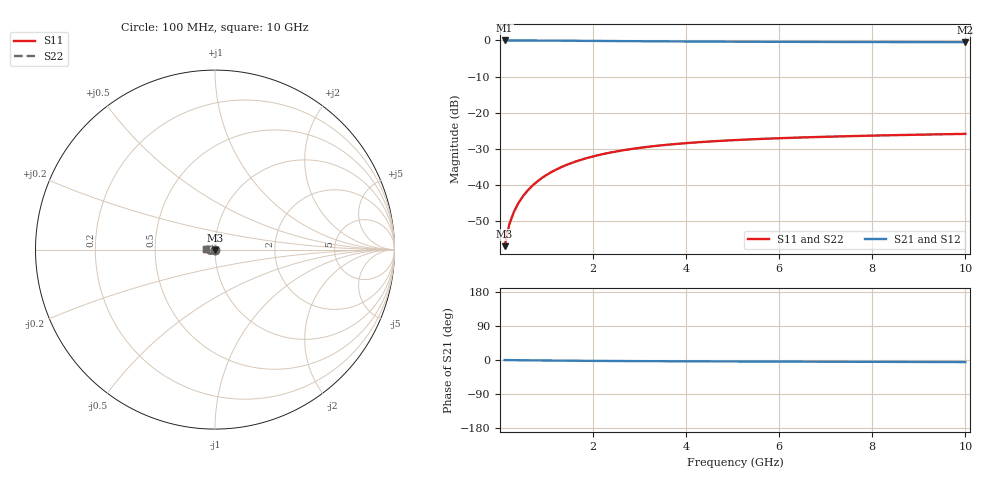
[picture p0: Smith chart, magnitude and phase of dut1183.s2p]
! Touchstone file exported from HFSS 2024.1.0
!  File:  C:/UserFiles/LocalFiles/RDL_TSV_Batchsim/temp_TSV1_1183_1780075008.aedt
!  Generated:  01:21:09 AM May 30, 2026
!  Design:  TSV1
!  Project:  temp_TSV1_1183_1780075008
!  Setup:  Setup1
!  Solution:  Sweep
! Variables:
!  dtsv = 11.14um
!  hbump = 3um
!  htsv = 85.76um
!  lrdl = 252.1521522um
!  p = 40
!  p1 = 53.47um
!  t = 500um
!  trdl = 3um
!  wrdl = 24.89489489um
# GHz S MA R 50.000000
! Terminal data exported
! Port[1] = TSV22_T1
! Port[2] = TSV22_T2
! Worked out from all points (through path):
!   100 points, 100 MHz to 10 GHz, reference 50 ohm
!   highest |S21| = 0.00 dB at 100 MHz (marker M1); lowest = -0.5 dB at 10 GHz (marker M2)
!   lowest |S11| = -56.9 dB at 100 MHz (marker M3), VSWR 1.00, Z = 50 - j0.143 ohm
!   |S11| at or under -10 dB: start of sweep to end of sweep
!   |S22| runs from -56.9 to -25.8 dB; largest |S21 - S12| = 5e-15
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0.1  0.00143 -87.0  0.9998 -0.1  0.9998 -0.1  0.00143 -87.0
! Gamma 0 0 0 0
! Port Impedance 50 0 50 0
0.2  0.002853 -91.1  0.9997 -0.3  0.9997 -0.3  0.002853 -91.1
0.3  0.004274 -93.8  0.9994 -0.4  0.9994 -0.4  0.004274 -93.8
0.4  0.005689 -96.0  0.9991 -0.6  0.9991 -0.6  0.005689 -96.0
0.5  0.007093 -98.1  0.9987 -0.7  0.9987 -0.7  0.007093 -98.1
0.6  0.008481 -100.1  0.9982 -0.8  0.9982 -0.8  0.008481 -100.1
0.7  0.009849 -102.0  0.9976 -0.9  0.9976 -0.9  0.009849 -102.0
0.8  0.0112 -103.9  0.9969 -1.1  0.9969 -1.1  0.0112 -103.9
0.9  0.01252 -105.8  0.9962 -1.2  0.9962 -1.2  0.01252 -105.8
1.1  0.01507 -109.4  0.9946 -1.4  0.9946 -1.4  0.01507 -109.4
1.4  0.01866 -114.6  0.9919 -1.8  0.9919 -1.8  0.01866 -114.6
1.6  0.02088 -117.8  0.99 -2.0  0.99 -2.0  0.02088 -117.8
1.8  0.02297 -120.9  0.988 -2.1  0.988 -2.1  0.02297 -120.9
2.1  0.02583 -125.4  0.9849 -2.4  0.9849 -2.4  0.02583 -125.4
2.5  0.02918 -130.8  0.9808 -2.7  0.9808 -2.7  0.02918 -130.8
2.9  0.03205 -135.7  0.9769 -2.9  0.9769 -2.9  0.03205 -135.7
3.4  0.03507 -141.2  0.9726 -3.2  0.9726 -3.2  0.03507 -141.2
4.2  0.03887 -148.8  0.9666 -3.5  0.9666 -3.5  0.03887 -148.8
5.1  0.04204 -156.0  0.9613 -3.9  0.9613 -3.9  0.04204 -156.0
6.7  0.04599 -166.2  0.9546 -4.4  0.9546 -4.4  0.04599 -166.2
8.4  0.04891 -174.8  0.9501 -5.0  0.9501 -5.0  0.04891 -174.8
10  0.05106 178.4  0.9471 -5.5  0.9471 -5.5  0.05106 178.4
